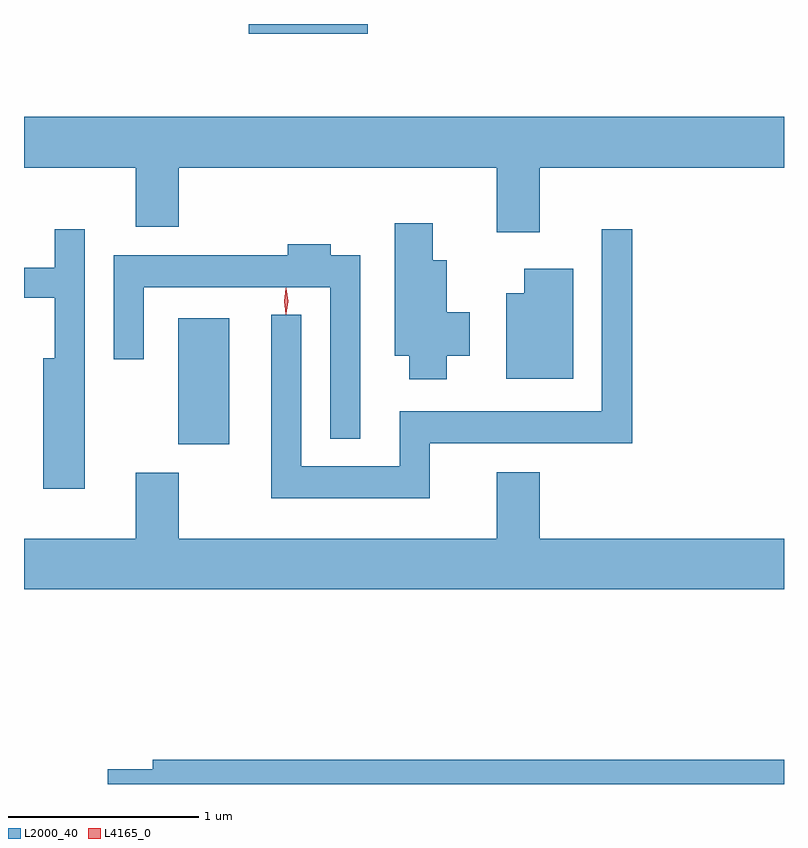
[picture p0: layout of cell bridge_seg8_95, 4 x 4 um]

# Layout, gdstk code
import gdstk
lib = gdstk.Library(unit=1e-6, precision=1e-09)
def R(c, l, rs):  # rectangles x0, y0, x1, y1
    for r in rs: c.add(gdstk.rectangle(r[:2], r[2:], *l))
def P(c, l, *ps):  # polygons
    for p in ps: c.add(gdstk.Polygon(p, *l))
L2000_40 = (2000, 40)
L4165_0 = (4165, 0)

bridge_seg8_95 = lib.new_cell('bridge_seg8_95')
R(bridge_seg8_95, L2000_40, [(1525.806,1821.641,1526.074,1822.304), (1526.176,1823.801,1526.804,1823.852)])
P(bridge_seg8_95, L2000_40, [(1527.709,1823.096),(1528.994,1823.096),(1528.994,1823.364),(1524.994,1823.364),(1524.994,1823.096),(1525.581,1823.096),(1525.581,1822.786),(1525.809,1822.786),(1525.809,1823.096),(1527.481,1823.096),(1527.481,1822.756),(1527.709,1822.756)],
  [(1527.219,1822.106),(1527.339,1822.106),(1527.339,1822.334),(1527.219,1822.334),(1527.219,1822.609),(1527.144,1822.609),(1527.144,1822.804),(1526.946,1822.804),(1526.946,1822.106),(1527.021,1822.106),(1527.021,1821.981),(1527.219,1821.981)],
  [(1527.129,1821.646),(1528.194,1821.646),(1528.194,1822.773),(1528.036,1822.773),(1528.036,1821.814),(1526.971,1821.814),(1526.971,1821.524),(1526.454,1821.524),(1526.454,1822.323),(1526.296,1822.323),(1526.296,1821.356),(1527.129,1821.356)],
  [(1525.314,1822.773),(1525.156,1822.773),(1525.156,1822.569),(1524.994,1822.569),(1524.994,1822.411),(1525.156,1822.411),(1525.156,1822.094),(1525.096,1822.094),(1525.096,1821.406),(1525.314,1821.406)],
  [(1526.764,1822.634),(1526.609,1822.634),(1526.609,1822.694),(1526.381,1822.694),(1526.381,1822.634),(1525.466,1822.634),(1525.466,1822.088),(1525.624,1822.088),(1525.624,1822.466),(1526.606,1822.466),(1526.606,1821.668),(1526.764,1821.668)],
  [(1527.884,1822.564),(1527.626,1822.564),(1527.626,1822.434),(1527.531,1822.434),(1527.531,1821.986),(1527.884,1821.986)],
  [(1528.994,1821.144),(1527.709,1821.144),(1527.709,1821.494),(1527.481,1821.494),(1527.481,1821.144),(1525.809,1821.144),(1525.809,1821.489),(1525.581,1821.489),(1525.581,1821.144),(1524.994,1821.144),(1524.994,1820.876),(1528.994,1820.876)],
  [(1528.994,1819.979),(1525.671,1819.979),(1525.671,1819.929),(1525.436,1819.929),(1525.436,1819.852),(1528.994,1819.852)])
P(bridge_seg8_95, L4165_0, [(1526.373,1822.323),(1526.372,1822.324),(1526.363,1822.393),(1526.372,1822.462),(1526.373,1822.463),(1526.373,1822.462),(1526.383,1822.393),(1526.373,1822.324)],
  [(1526.374,1822.327),(1526.374,1822.328),(1526.364,1822.394),(1526.374,1822.46),(1526.374,1822.46),(1526.375,1822.46),(1526.384,1822.394),(1526.375,1822.328)])

lib.write_gds('bridge_seg8_95.gds')
